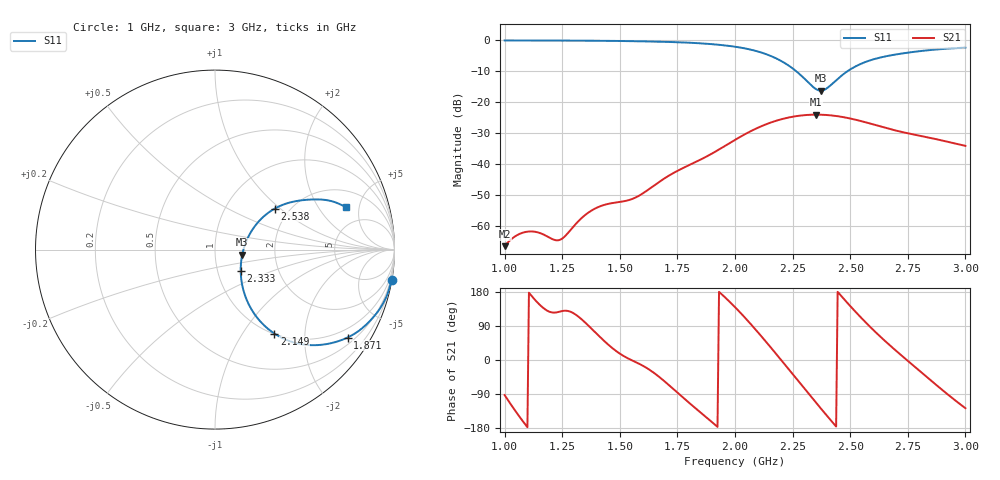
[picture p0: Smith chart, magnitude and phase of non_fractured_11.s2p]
! TOUCHSTONE file generated by CST MICROWAVE STUDIO
! Date and time: Sat Mar  8 13:53:56 2025
! Project name: non_fractured.cst
! Parameters = {B=2.5; D=160; F=5; Feed=2.85625; L=100; M=5; R=0.384908; S=2; Theta=180; length=57.125; wave=114.25}
! Header version: 2024
! Port assignment regex: !\s*Touchstone port\s*([0-9]+)\s*=\s*(CST MWS port|CST DES external port|CST DES block port)\s*(.+)\s* \(\"(.*)\"\)(\s*mode\s*([0-9]+))?.*
! Touchstone port assignment:
! Touchstone port 1 = CST MWS port 1 ("")
! Touchstone port 2 = CST MWS port 2 ("")
# GHz S DB R 50
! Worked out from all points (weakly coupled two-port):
!   304 points, 1 GHz to 3 GHz, reference 50 ohm
!   highest |S21| = -23.98 dB at 2.353 GHz (marker M1); lowest = -66.5 dB at 1 GHz (marker M2)
!   lowest |S11| = -16.2 dB at 2.373 GHz (marker M3), VSWR 1.36, Z = 67.7 - j3.97 ohm
!   |S11| at or under -10 dB: 2.266 GHz to 2.487 GHz (221.1 MHz wide, 9.3 % of centre)
!   S12 and S22 are empty: the file has one direction only
!   S11 on the Smith chart (normalised r, x): 1 GHz: 0, -12; 1.871 GHz: 0.70, -3.18; 2.149 GHz: 1.01, -1.41; 2.333 GHz: 1.29, -0.31; 2.538 GHz: 1.68, +0.92; 3 GHz: 3.18, +3.64
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1  -0.02 -9.7  -66.48 -92.6  -200.00 0.0  -200.00 0.0
1.0462  -0.02 -10.4  -63.27 -134.0  -200.00 0.0  -200.00 0.0
1.09901  -0.03 -11.1  -61.79 -177.4  -200.00 0.0  -200.00 0.0
1.14521  -0.04 -11.8  -62.05 150.0  -200.00 0.0  -200.00 0.0
1.23762  -0.05 -13.3  -64.50 127.4  -200.00 0.0  -200.00 0.0
1.33663  -0.08 -15.2  -57.23 106.1  -200.00 0.0  -200.00 0.0
1.41584  -0.12 -17.0  -53.56 59.7  -200.00 0.0  -200.00 0.0
1.56766  -0.26 -20.9  -50.79 -5.2  -200.00 0.0  -200.00 0.0
1.66667  -0.41 -24.1  -45.93 -42.5  -200.00 0.0  -200.00 0.0
1.87129  -1.05 -33.6  -37.72 -149.1  -200.00 0.0  -200.00 0.0
2.0033  -2.08 -42.5  -32.00 137.5  -200.00 0.0  -200.00 0.0
2.14851  -4.83 -54.7  -26.72 38.0  -200.00 0.0  -200.00 0.0
2.24092  -8.55 -58.5  -24.79 -30.3  -200.00 0.0  -200.00 0.0
2.33333  -14.67 -39.2  -24.01 -99.1  -200.00 0.0  -200.00 0.0
2.33993  -15.10 -35.4  -23.99 -103.9  -200.00 0.0  -200.00 0.0
2.35314  -15.81 -26.4  -23.98 -113.7  -200.00 0.0  -200.00 0.0
2.37294  -16.24 -10.7  -24.01 -128.2  -200.00 0.0  -200.00 0.0
2.39934  -15.44 9.2  -24.11 -147.3  -200.00 0.0  -200.00 0.0
2.45875  -11.60 31.0  -24.64 170.6  -200.00 0.0  -200.00 0.0
2.53795  -7.86 34.5  -25.89 117.6  -200.00 0.0  -200.00 0.0
2.66997  -4.91 29.1  -28.59 39.9  -200.00 0.0  -200.00 0.0
3  -2.32 18.0  -34.08 -127.2  -200.00 0.0  -200.00 0.0
